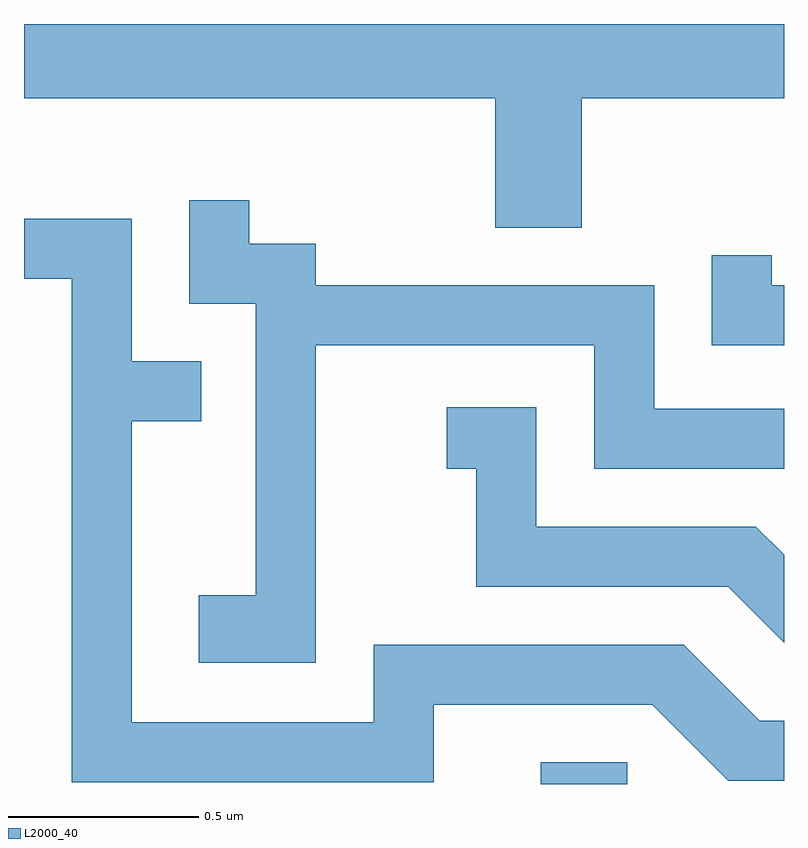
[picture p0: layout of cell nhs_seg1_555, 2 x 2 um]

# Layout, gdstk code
import gdstk
lib = gdstk.Library(unit=1e-6, precision=1e-09)
def R(c, l, rs):  # rectangles x0, y0, x1, y1
    for r in rs: c.add(gdstk.rectangle(r[:2], r[2:], *l))
def P(c, l, *ps):  # polygons
    for p in ps: c.add(gdstk.Polygon(p, *l))
L2000_40 = (2000, 40)

nhs_seg1_555 = lib.new_cell('nhs_seg1_555')
R(nhs_seg1_555, L2000_40, [(190.971,846.712,191.199,846.769)])
P(nhs_seg1_555, L2000_40, [(191.079,848.516),(191.611,848.516),(191.611,848.712),(189.611,848.712),(189.611,848.516),(190.851,848.516),(190.851,848.176),(191.079,848.176)],
  [(190.379,847.866),(191.111,847.866),(191.111,847.541),(191.611,847.541),(191.611,847.699),(191.269,847.699),(191.269,848.024),(190.379,848.024),(190.379,848.134),(190.204,848.134),(190.204,848.248),(190.046,848.248),(190.046,847.976),(190.221,847.976),(190.221,847.209),(190.071,847.209),(190.071,847.031),(190.379,847.031)],
  [(190.689,846.921),(191.264,846.921),(191.464,846.721),(191.611,846.721),(191.611,846.879),(191.547,846.879),(191.347,847.079),(190.531,847.079),(190.531,846.874),(189.894,846.874),(189.894,847.666),(190.078,847.666),(190.078,847.824),(189.894,847.824),(189.894,848.199),(189.611,848.199),(189.611,848.041),(189.736,848.041),(189.736,846.716),(190.689,846.716)],
  [(191.611,848.024),(191.579,848.024),(191.579,848.103),(191.421,848.103),(191.421,847.866),(191.611,847.866)],
  [(191.611,847.315),(191.537,847.389),(190.959,847.389),(190.959,847.704),(190.723,847.704),(190.723,847.541),(190.801,847.541),(190.801,847.231),(191.464,847.231),(191.611,847.084)])

lib.write_gds('nhs_seg1_555.gds')
